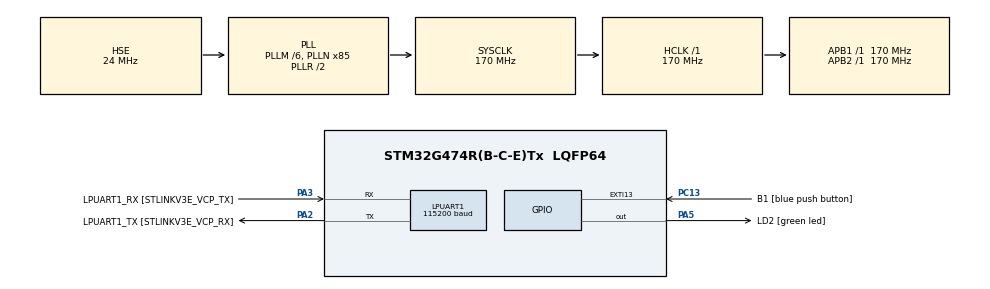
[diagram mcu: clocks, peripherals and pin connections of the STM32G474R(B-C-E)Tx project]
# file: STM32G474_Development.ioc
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Dma.LPUART1_RX.0.Direction=DMA_PERIPH_TO_MEMORY
Dma.LPUART1_RX.0.EventEnable=DISABLE
Dma.LPUART1_RX.0.Instance=DMA1_Channel1
Dma.LPUART1_RX.0.MemDataAlignment=DMA_MDATAALIGN_BYTE
Dma.LPUART1_RX.0.MemInc=DMA_MINC_ENABLE
Dma.LPUART1_RX.0.Mode=DMA_NORMAL
Dma.LPUART1_RX.0.PeriphDataAlignment=DMA_PDATAALIGN_BYTE
Dma.LPUART1_RX.0.PeriphInc=DMA_PINC_DISABLE
Dma.LPUART1_RX.0.Polarity=HAL_DMAMUX_REQ_GEN_RISING
Dma.LPUART1_RX.0.Priority=DMA_PRIORITY_LOW
Dma.LPUART1_RX.0.RequestNumber=1
Dma.LPUART1_RX.0.SignalID=NONE
Dma.LPUART1_RX.0.SyncEnable=DISABLE
Dma.LPUART1_RX.0.SyncPolarity=HAL_DMAMUX_SYNC_NO_EVENT
Dma.LPUART1_RX.0.SyncRequestNumber=1
Dma.LPUART1_RX.0.SyncSignalID=NONE
Dma.LPUART1_TX.1.Direction=DMA_MEMORY_TO_PERIPH
Dma.LPUART1_TX.1.EventEnable=DISABLE
Dma.LPUART1_TX.1.Instance=DMA1_Channel2
Dma.LPUART1_TX.1.MemDataAlignment=DMA_MDATAALIGN_BYTE
Dma.LPUART1_TX.1.MemInc=DMA_MINC_ENABLE
Dma.LPUART1_TX.1.Mode=DMA_NORMAL
Dma.LPUART1_TX.1.PeriphDataAlignment=DMA_PDATAALIGN_BYTE
Dma.LPUART1_TX.1.PeriphInc=DMA_PINC_DISABLE
Dma.LPUART1_TX.1.Polarity=HAL_DMAMUX_REQ_GEN_RISING
Dma.LPUART1_TX.1.Priority=DMA_PRIORITY_LOW
Dma.LPUART1_TX.1.RequestNumber=1
Dma.LPUART1_TX.1.SignalID=NONE
Dma.LPUART1_TX.1.SyncEnable=DISABLE
Dma.LPUART1_TX.1.SyncPolarity=HAL_DMAMUX_SYNC_NO_EVENT
Dma.LPUART1_TX.1.SyncRequestNumber=1
Dma.LPUART1_TX.1.SyncSignalID=NONE
Dma.Request0=LPUART1_RX
Dma.Request1=LPUART1_TX
LPUART1.BaudRate=115200
LPUART1.WordLength=UART_WORDLENGTH_8B
Mcu.Family=STM32G4
Mcu.Name=STM32G474R(B-C-E)Tx
Mcu.Package=LQFP64
NVIC.DMA1_Channel1_IRQn=true\:3\:0\:true\:false\:true\:false\:true\:true
NVIC.DMA1_Channel2_IRQn=true\:3\:0\:true\:false\:true\:false\:true\:true
NVIC.EXTI15_10_IRQn=true\:0\:0\:false\:false\:true\:true\:true\:true
NVIC.LPUART1_IRQn=true\:3\:0\:true\:false\:true\:true\:true\:true
NVIC.PriorityGroup=NVIC_PRIORITYGROUP_4
NVIC.TIM3_IRQn=true\:0\:0\:false\:false\:true\:true\:true\:true
NVIC.WWDG_IRQn=true\:0\:0\:false\:false\:true\:true\:true\:true
PA13.GPIO_Label=T_SWDIO
PA13.Mode=Serial_Wire
PA13.Signal=SYS_JTMS-SWDIO
PA14.GPIO_Label=T_SWCLK
PA14.Mode=Serial_Wire
PA14.Signal=SYS_JTCK-SWCLK
PA2.GPIO_Label=LPUART1_TX [STLINKV3E_VCP_RX]
PA2.Mode=Asynchronous
PA2.Signal=LPUART1_TX
PA3.GPIO_Label=LPUART1_RX [STLINKV3E_VCP_TX]
PA3.Mode=Asynchronous
PA3.Signal=LPUART1_RX
PA5.GPIO_Label=LD2 [green led]
PA5.Signal=GPIO_Output
PB3.GPIO_Label=T_SWO
PB3.Signal=SYS_JTDO-SWO
PC13.GPIO_Label=B1 [blue push button]
PC13.Signal=GPXTI13
PC14-OSC32_IN.Mode=LSE-External-Oscillator
PC14-OSC32_IN.Signal=RCC_OSC32_IN
PC15-OSC32_OUT.Mode=LSE-External-Oscillator
PC15-OSC32_OUT.Signal=RCC_OSC32_OUT
PF0-OSC_IN.Mode=HSE-External-Oscillator
PF0-OSC_IN.Signal=RCC_OSC_IN
PF1-OSC_OUT.Mode=HSE-External-Oscillator
PF1-OSC_OUT.Signal=RCC_OSC_OUT
ProjectManager.HeapSize=0x200
ProjectManager.StackSize=0x400
ProjectManager.TargetToolchain=STM32CubeIDE
RCC.ADC12Freq_Value=170000000
RCC.ADC345Freq_Value=170000000
RCC.AHBFreq_Value=170000000
RCC.APB1Freq_Value=170000000
RCC.APB1TimFreq_Value=170000000
RCC.APB2Freq_Value=170000000
RCC.APB2TimFreq_Value=170000000
RCC.CortexFreq_Value=170000000
RCC.EXTERNAL_CLOCK_VALUE=12288000
RCC.FDCANCLockSelection=RCC_FDCANCLKSOURCE_HSE
RCC.HCLKFreq_Value=170000000
RCC.HSE_VALUE=24000000
RCC.HSI48_VALUE=48000000
RCC.HSI_VALUE=16000000
RCC.PLLM=RCC_PLLM_DIV6
RCC.PLLN=85
RCC.PLLSourceVirtual=RCC_PLLSOURCE_HSE
RCC.RTCClockSelection=RCC_RTCCLKSOURCE_LSE
RCC.SYSCLKFreq_VALUE=170000000
RCC.SYSCLKSource=RCC_SYSCLKSOURCE_PLLCLK
RCC.USBFreq_Value=170000000
RCC.VCOOutputFreq_Value=340000000
TIM3.AutoReloadPreload=TIM_AUTORELOAD_PRELOAD_ENABLE
TIM3.PeriodNoDither=1000-1
TIM3.Prescaler=170-1
VP_SYS_VS_DBSignals.Mode=DisableDeadBatterySignals
VP_TIM3_VS_ClockSourceINT.Mode=Internal
VP_WWDG_VS_WWDG.Mode=WWDG_Activate
WWDG.Counter=127
WWDG.EWIMode=WWDG_EWI_ENABLE
WWDG.Prescaler=WWDG_PRESCALER_128
board=NUCLEO-G474RE

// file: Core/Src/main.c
/* USER CODE BEGIN Header */
/**
  ******************************************************************************
  * @file           : main.c
  * @brief          : Main program body
  ******************************************************************************
  * @attention
  *
  * Copyright (c) 2023 STMicroelectronics.
  * All rights reserved.
  *
  * This software is licensed under terms that can be found in the LICENSE file
  * in the root directory of this software component.
  * If no LICENSE file comes with this software, it is provided AS-IS.
  *
  ******************************************************************************
  */
/* USER CODE END Header */
#include "main.h"

/* USER CODE BEGIN Includes */
#include "dma_printf.h"
#include "dma_scanf.h"
#include "log.h"
/* USER CODE END Includes */

/* USER CODE BEGIN PD */
#define KEY_PRESSED     GPIO_PIN_RESET
#define KEY_NOT_PRESSED GPIO_PIN_SET
/* USER CODE END PD */

UART_HandleTypeDef hlpuart1;
DMA_HandleTypeDef hdma_lpuart1_rx;
DMA_HandleTypeDef hdma_lpuart1_tx;

TIM_HandleTypeDef htim3;

WWDG_HandleTypeDef hwwdg;

/* USER CODE BEGIN PV */
uint8_t flag;
uint8_t wDog;
/* USER CODE END PV */

void SystemClock_Config(void);
static void MX_GPIO_Init(void);
static void MX_DMA_Init(void);
static void MX_LPUART1_UART_Init(void);
static void MX_TIM3_Init(void);
static void MX_WWDG_Init(void);

/* USER CODE BEGIN 0 */
int __io_putchar(int ch)
{
  dma_printf_putc(ch&0xFF);
  return ch;
}

int __io_getchar(void)
{
  return dma_scanf_getc_blocking();
}

void HAL_UART_RxCpltCallback(UART_HandleTypeDef *huart){

}

void HAL_UART_TxCpltCallback(UART_HandleTypeDef *huart){
  dma_printf_send_it(huart);
}

/* USER CODE END 0 */

int main(void)
{
  /* USER CODE BEGIN 1 */
  flag = 0;
  uint32_t count = 0;

  /* USER CODE END 1 */

  /* MCU Configuration--------------------------------------------------------*/

  /* Reset of all peripherals, Initializes the Flash interface and the Systick. */
  HAL_Init();

  /* Configure the system clock */
  SystemClock_Config();

  /* Initialize all configured peripherals */
  MX_GPIO_Init();
  MX_DMA_Init();
  MX_LPUART1_UART_Init();
  MX_TIM3_Init();
  MX_WWDG_Init();
  /* USER CODE BEGIN 2 */
  setbuf(stdin, NULL);
  setbuf(stdout, NULL);
  setbuf(stderr, NULL);
  dma_printf_init(&hlpuart1);
  dma_scanf_init(&hlpuart1);

  // Start timer
  HAL_TIM_Base_Start_IT(&htim3);

  /* USER CODE END 2 */

  /* Infinite loop */
  /* USER CODE BEGIN WHILE */
  while (1)
  {
	  if (flag == 1) {
		flag = 0;
		log_info("RESULT:%8ld\r", count++);
	  }
    /* USER CODE END WHILE */

  }
}

void SystemClock_Config(void)
{
  RCC_OscInitTypeDef RCC_OscInitStruct = {0};
  RCC_ClkInitTypeDef RCC_ClkInitStruct = {0};

  /** Configure the main internal regulator output voltage
  */
  HAL_PWREx_ControlVoltageScaling(PWR_REGULATOR_VOLTAGE_SCALE1_BOOST);

  /** Initializes the RCC Oscillators according to the specified parameters
  * in the RCC_OscInitTypeDef structure.
  */
  RCC_OscInitStruct.OscillatorType = RCC_OSCILLATORTYPE_HSE;
  RCC_OscInitStruct.HSEState = RCC_HSE_ON;
  RCC_OscInitStruct.PLL.PLLState = RCC_PLL_ON;
  RCC_OscInitStruct.PLL.PLLSource = RCC_PLLSOURCE_HSE;
  RCC_OscInitStruct.PLL.PLLM = RCC_PLLM_DIV6;
  RCC_OscInitStruct.PLL.PLLN = 85;
  RCC_OscInitStruct.PLL.PLLP = RCC_PLLP_DIV2;
  RCC_OscInitStruct.PLL.PLLQ = RCC_PLLQ_DIV2;
  RCC_OscInitStruct.PLL.PLLR = RCC_PLLR_DIV2;
  if (HAL_RCC_OscConfig(&RCC_OscInitStruct) != HAL_OK)
  {
    Error_Handler();
  }

  /** Initializes the CPU, AHB and APB buses clocks
  */
  RCC_ClkInitStruct.ClockType = RCC_CLOCKTYPE_HCLK|RCC_CLOCKTYPE_SYSCLK
                              |RCC_CLOCKTYPE_PCLK1|RCC_CLOCKTYPE_PCLK2;
  RCC_ClkInitStruct.SYSCLKSource = RCC_SYSCLKSOURCE_PLLCLK;
  RCC_ClkInitStruct.AHBCLKDivider = RCC_SYSCLK_DIV1;
  RCC_ClkInitStruct.APB1CLKDivider = RCC_HCLK_DIV1;
  RCC_ClkInitStruct.APB2CLKDivider = RCC_HCLK_DIV1;

  if (HAL_RCC_ClockConfig(&RCC_ClkInitStruct, FLASH_LATENCY_4) != HAL_OK)
  {
    Error_Handler();
  }
}

static void MX_LPUART1_UART_Init(void)
{

  hlpuart1.Instance = LPUART1;
  hlpuart1.Init.BaudRate = 115200;
  hlpuart1.Init.WordLength = UART_WORDLENGTH_8B;
  hlpuart1.Init.StopBits = UART_STOPBITS_1;
  hlpuart1.Init.Parity = UART_PARITY_NONE;
  hlpuart1.Init.Mode = UART_MODE_TX_RX;
  hlpuart1.Init.HwFlowCtl = UART_HWCONTROL_NONE;
  hlpuart1.Init.OneBitSampling = UART_ONE_BIT_SAMPLE_DISABLE;
  hlpuart1.Init.ClockPrescaler = UART_PRESCALER_DIV1;
  hlpuart1.AdvancedInit.AdvFeatureInit = UART_ADVFEATURE_NO_INIT;
  if (HAL_UART_Init(&hlpuart1) != HAL_OK)
  {
    Error_Handler();
  }
  if (HAL_UARTEx_SetTxFifoThreshold(&hlpuart1, UART_TXFIFO_THRESHOLD_1_8) != HAL_OK)
  {
    Error_Handler();
  }
  if (HAL_UARTEx_SetRxFifoThreshold(&hlpuart1, UART_RXFIFO_THRESHOLD_1_8) != HAL_OK)
  {
    Error_Handler();
  }
  if (HAL_UARTEx_DisableFifoMode(&hlpuart1) != HAL_OK)
  {
    Error_Handler();
  }

}

static void MX_TIM3_Init(void)
{

  TIM_ClockConfigTypeDef sClockSourceConfig = {0};
  TIM_MasterConfigTypeDef sMasterConfig = {0};

  htim3.Instance = TIM3;
  htim3.Init.Prescaler = 170-1;
  htim3.Init.CounterMode = TIM_COUNTERMODE_UP;
  htim3.Init.Period = 999;
  htim3.Init.ClockDivision = TIM_CLOCKDIVISION_DIV1;
  htim3.Init.AutoReloadPreload = TIM_AUTORELOAD_PRELOAD_ENABLE;
  if (HAL_TIM_Base_Init(&htim3) != HAL_OK)
  {
    Error_Handler();
  }
  sClockSourceConfig.ClockSource = TIM_CLOCKSOURCE_INTERNAL;
  if (HAL_TIM_ConfigClockSource(&htim3, &sClockSourceConfig) != HAL_OK)
  {
    Error_Handler();
  }
  sMasterConfig.MasterOutputTrigger = TIM_TRGO_RESET;
  sMasterConfig.MasterSlaveMode = TIM_MASTERSLAVEMODE_DISABLE;
  if (HAL_TIMEx_MasterConfigSynchronization(&htim3, &sMasterConfig) != HAL_OK)
  {
    Error_Handler();
  }

}

static void MX_WWDG_Init(void)
{

  hwwdg.Instance = WWDG;
  hwwdg.Init.Prescaler = WWDG_PRESCALER_128;
  hwwdg.Init.Window = 64;
  hwwdg.Init.Counter = 127;
  hwwdg.Init.EWIMode = WWDG_EWI_ENABLE;
  if (HAL_WWDG_Init(&hwwdg) != HAL_OK)
  {
    Error_Handler();
  }

}

static void MX_DMA_Init(void)
{

  /* DMA controller clock enable */
  __HAL_RCC_DMAMUX1_CLK_ENABLE();
  __HAL_RCC_DMA1_CLK_ENABLE();

  /* DMA interrupt init */
  /* DMA1_Channel1_IRQn interrupt configuration */
  HAL_NVIC_SetPriority(DMA1_Channel1_IRQn, 3, 0);
  HAL_NVIC_EnableIRQ(DMA1_Channel1_IRQn);
  /* DMA1_Channel2_IRQn interrupt configuration */
  HAL_NVIC_SetPriority(DMA1_Channel2_IRQn, 3, 0);
  HAL_NVIC_EnableIRQ(DMA1_Channel2_IRQn);

}

static void MX_GPIO_Init(void)
{
  GPIO_InitTypeDef GPIO_InitStruct = {0};

  /* GPIO Ports Clock Enable */
  __HAL_RCC_GPIOC_CLK_ENABLE();
  __HAL_RCC_GPIOF_CLK_ENABLE();
  __HAL_RCC_GPIOA_CLK_ENABLE();
  __HAL_RCC_GPIOB_CLK_ENABLE();

  /*Configure GPIO pin Output Level */
  HAL_GPIO_WritePin(LD2_GPIO_Port, LD2_Pin, GPIO_PIN_RESET);

  /*Configure GPIO pin : B1_Pin */
  GPIO_InitStruct.Pin = B1_Pin;
  GPIO_InitStruct.Mode = GPIO_MODE_IT_RISING;
  GPIO_InitStruct.Pull = GPIO_NOPULL;
  HAL_GPIO_Init(B1_GPIO_Port, &GPIO_InitStruct);

  /*Configure GPIO pin : LD2_Pin */
  GPIO_InitStruct.Pin = LD2_Pin;
  GPIO_InitStruct.Mode = GPIO_MODE_OUTPUT_PP;
  GPIO_InitStruct.Pull = GPIO_NOPULL;
  GPIO_InitStruct.Speed = GPIO_SPEED_FREQ_LOW;
  HAL_GPIO_Init(LD2_GPIO_Port, &GPIO_InitStruct);

  /* EXTI interrupt init*/
  HAL_NVIC_SetPriority(EXTI15_10_IRQn, 0, 0);
  HAL_NVIC_EnableIRQ(EXTI15_10_IRQn);

}

/* USER CODE BEGIN 4 */
// Callback: timer has rolled over
void HAL_TIM_PeriodElapsedCallback(TIM_HandleTypeDef *htim)
{
	static uint16_t c;
  // Check which version of the timer triggered this callback and toggle LED
  if (htim->Instance == htim3.Instance )
  {
    if (c++ >= 100) {
      wDog = 1;
	  c = 0;
	  flag = 1;
	  HAL_GPIO_TogglePin(GPIOA, GPIO_PIN_5);
    }
  }
}

void HAL_WWDG_EarlyWakeupCallback(WWDG_HandleTypeDef *hwwdg)
{
	/* prevent unused argument(s) comp;ilation warning */
	UNUSED(hwwdg);
	if (wDog == 1)
	{
		wDog = 0;
		HAL_WWDG_Refresh(hwwdg);
		printf("Refreshing WD Timer\n\r");
	} else
	{
		printf("Refreshing Failed\n\r");

	}
	__HAL_WWDG_CLEAR_FLAG(hwwdg,  0);
}
/* USER CODE END 4 */

void Error_Handler(void)
{
  __disable_irq();
  while (1)
  {
  }
}
